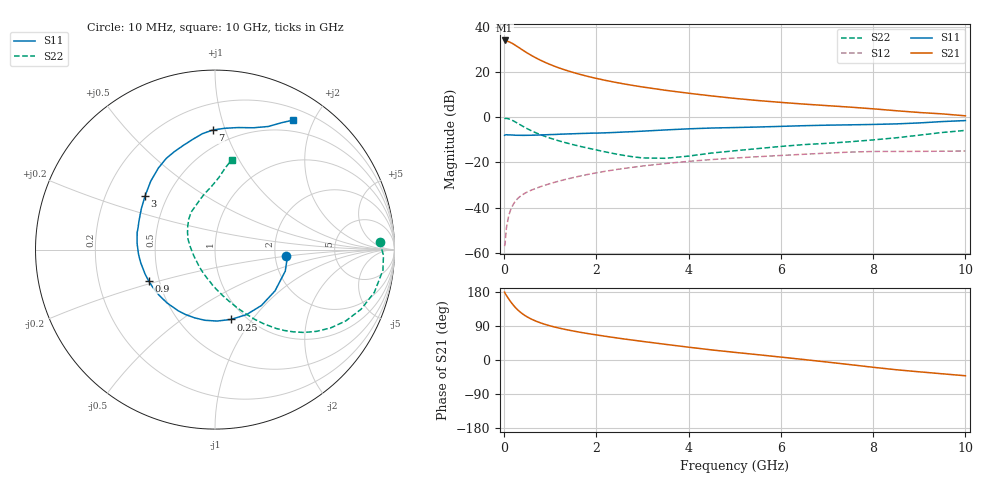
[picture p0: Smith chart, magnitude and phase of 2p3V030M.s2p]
! (c) 2009  Infineon Technologies AG, Munich
! Infineon Technologies  Discrete & RF Semiconductors
! BFP420
! VCE =  3.0 V,  IC =  30 mA
! Common Emitter S-Parameters:  Nov 2009
# GHz  S  MA  R  50
!  f  S11  S21  S12  S22
! GHz  MAG  ANG  MAG  ANG  MAG  ANG  MAG  ANG
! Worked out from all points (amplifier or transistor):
!   46 points, 10 MHz to 10 GHz, reference 50 ohm
!   highest |S21| = 34.0 dB at 10 MHz (marker M1)
!   |S21| within 3 dB of that: start of sweep to 308.4 MHz
!   unconditionally stable (mu >= 1): 1.56 GHz to end of sweep
!   at 300 MHz: K = 0.40, MSG = 33.5 dB, |S12| = -35.9 dB
!   at 1.7 GHz: K = 1.03, MAG = 21.3 dB, |S12| = -25.8 dB
!   at 10 GHz: K = 1.06, MAG = 6.3 dB, |S12| = -15.0 dB
!   lowest NFmin = 1.51 dB at 900 MHz
!   S11 on the Smith chart (normalised r, x): 10 MHz: 2.30, -0.20; 250 MHz: 0.86, -0.79; 900 MHz: 0.44, -0.18; 3 GHz: 0.38, +0.30; 7 GHz: 0.38, +0.91; 10 GHz: 0.35, +1.72
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0.01  0.3985 -5.2  49.96 179.1  0.0014 97.2  0.9188 2.8
0.02  0.405 -6.8  48.85 175.9  0.0016 90.7  0.9392 -2.0
0.05  0.4095 -17.0  48.3 170.2  0.0036 81.2  0.9426 -7.0
0.1  0.4058 -34.5  46.88 160.9  0.0067 77.4  0.9192 -15.0
0.15  0.4048 -50.3  44.45 152.3  0.0095 74.2  0.8792 -22.2
0.2  0.4025 -64.2  41.66 144.6  0.0119 70.6  0.83 -28.6
0.25  0.3991 -77.1  38.61 137.6  0.0142 67.1  0.7782 -34.1
0.3  0.3983 -88.3  35.84 131.6  0.0161 64.6  0.7267 -38.8
0.4  0.3968 -106.5  30.68 121.6  0.0193 61.3  0.6339 -46.3
0.5  0.3978 -120.9  26.42 113.7  0.0221 59.5  0.5573 -52.1
0.6  0.3997 -132.0  23 107.3  0.0246 58.6  0.496 -56.6
0.7  0.4023 -141.1  20.24 102.0  0.0269 58.2  0.4464 -60.4
0.9  0.4086 -155.0  16.16 93.5  0.0316 57.9  0.3725 -66.5
1.3  0.4238 -173.8  11.29 81.3  0.0413 57.4  0.2785 -77.4
1.7  0.4375 173.0  8.577 72.1  0.0512 55.9  0.2203 -88.2
2.2  0.4518 159.8  6.528 62.5  0.0638 52.7  0.1705 -103.1
3  0.4913 142.5  4.671 49.1  0.0832 46.2  0.1257 -137.7
3.5  0.5233 133.1  3.941 41.3  0.0945 41.5  0.1232 -164.1
5.5  0.6065 107.0  2.341 14.0  0.1336 22.8  0.2022 138.6
7  0.6663 91.1  1.805 -5.4  0.1605 8.6  0.2642 114.7
8.5  0.7117 72.5  1.391 -25.7  0.175 -8.5  0.3504 93.5
10  0.8424 58.9  1.074 -41.6  0.1787 -19.9  0.5103 79.4
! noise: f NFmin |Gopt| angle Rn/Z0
0.9  1.51  0.26  -155  0.13
1.8  1.78  0.33  -142  0.14
2.4  1.96  0.3  -136  0.18
3  1.98  0.38  -127  0.2
4  2.11  0.47  -111  0.31
5  2.57  0.53  -94  0.51
6  3  0.57  -82  0.74
